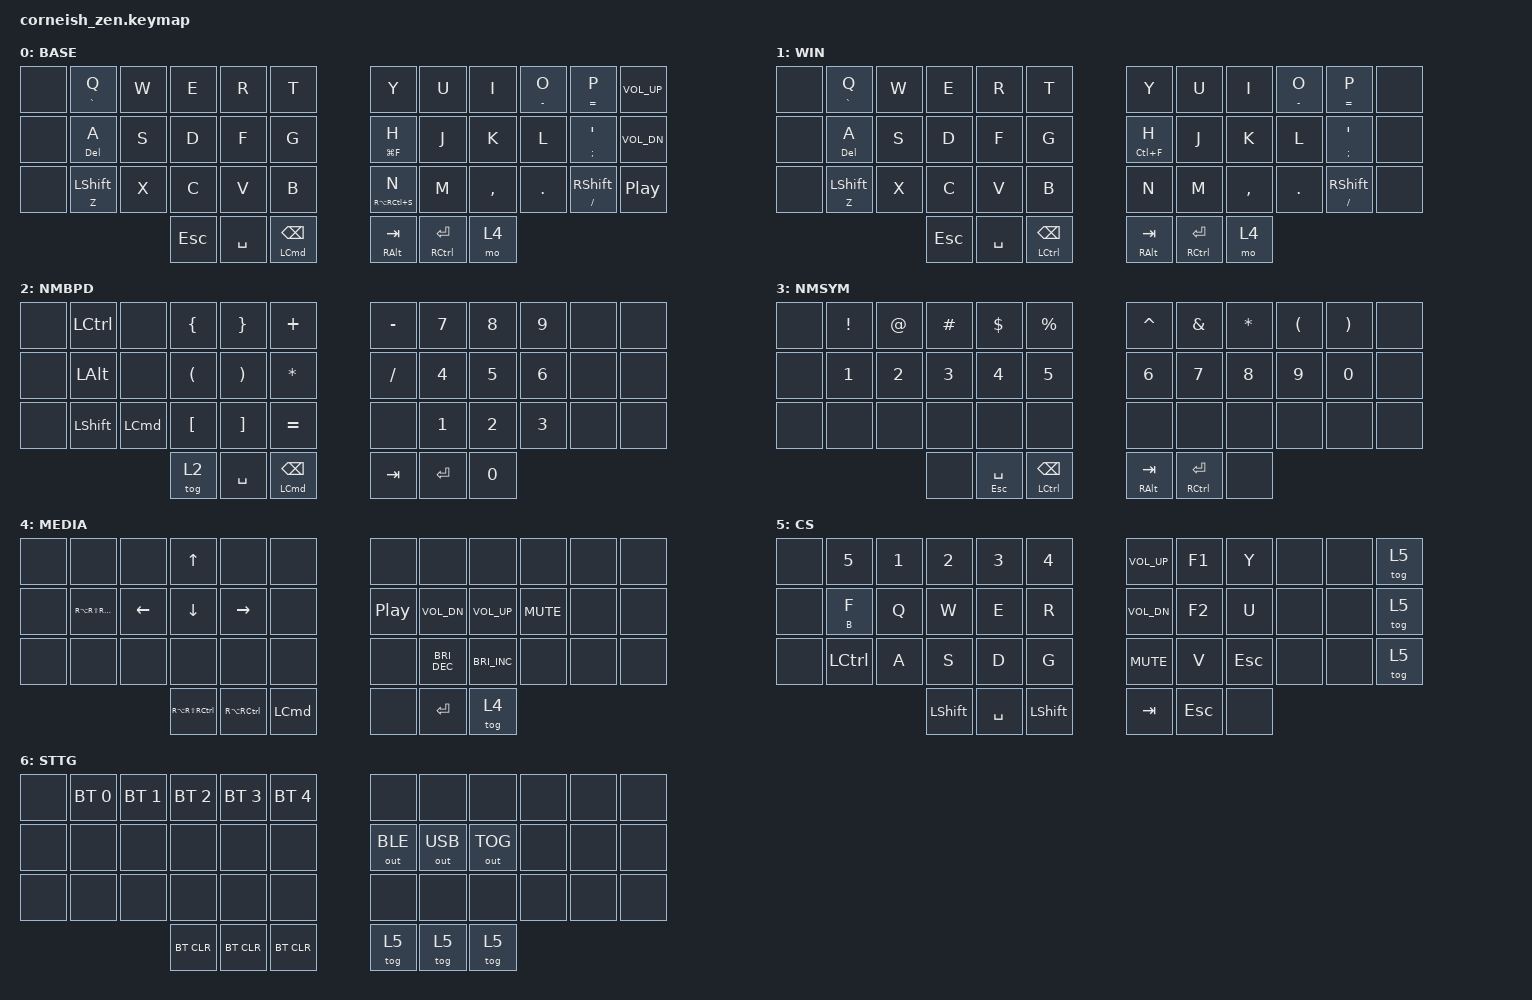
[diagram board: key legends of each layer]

#include <behaviors.dtsi>
#include <dt-bindings/zmk/keys.h>
#include <dt-bindings/zmk/bt.h>
#include <dt-bindings/zmk/outputs.h>


// Layers
#define BASE 0
#define WIN 1
#define NMBPD 2
#define NMSYM 3
#define MEDIA 4
#define CS 5
#define STTG 6

/ {
    chosen {
        zmk,matrix_transform = &default_transform;
        //zmk,matrix_transform = &five_column_transform;
    };
};

// Combination Behaviors
// _____________________________________   _____________________________________
// |  0  |  1  |  2  |  3  |  4  |  5  |   |  6  |  7  |  8  |  9  |  10 |  11 |
// |  12 |  13 |  14 |  15 |  16 |  17 |   |  18 |  19 |  20 |  21 |  22 |  23 |
// |  24 |  25 |  26 |  27 |  28 |  29 |   |  30 |  31 |  32 |  33 |  34 |  35 |
//                   |  36 |  37 |  38 |   |  39 |  40 |  41 |

/ {
    combos {
        compatible = "zmk,combos";

//Vertical Combinations

        combo_STTG {
            timeout-ms = <75>;
            key-positions = <0 11 12 23 24 35>;
            bindings = <&tog 6>;
                       };

        combo_CSGO {
            timeout-ms = <75>;
            key-positions = <12 23 24 35>;
            bindings = <&tog 5>;
                       };

        combo_WIN {
            timeout-ms = <75>;
            key-positions = <0 11 12 23>;
            bindings = <&tog 1>;
                       };

        combo_CAPS {
            timeout-ms = <75>;
            key-positions = <0 12 24>;
            bindings = <&kp CAPSLOCK>;
                     };

        combo_CMD {
            timeout-ms = <75>;
            key-positions = <12 24>;
            layers = <0 1>;
            bindings = <&kp LCMD>;
                     };

        combo_SNAPSHOT {
            timeout-ms = <100>;
            key-positions = <11 23 35>;
            bindings = <&kp LG(LS(NUMBER_4))>;
                       };

//Regular Combinations on the left
                     
        combo_NMSYMleft {
            timeout-ms = <50>;
            key-positions = <13 14>;
            layers = <0 1>;
            bindings = <&mo 3>;
                     };

        combo_NMBPDleft {
            timeout-ms = <50>;
            key-positions = <15 16>;
            layers = <0 1>;
            bindings = <&mo 2>;
                     };  

        combo_COPYPASTEmac {
            timeout-ms = <50>;
            key-positions = <16 17>;
            layers = <0>;
            bindings = <&mt LG(V) LG(C)>;
                     };

        combo_COPYPASTEwin {
            timeout-ms = <50>;
            key-positions = <16 17>;
            layers = <1>;
            bindings = <&mt LC(V) LC(C)>;
                     };

//Regular Combinations on the right

        combo_NMSYMright {
            timeout-ms = <50>;
            key-positions = <21 22>;
            layers = <0 1>;
            bindings = <&mo 3>;
                     };

        combo_NMBPDright {
            timeout-ms = <50>;
            key-positions = <19 20>;
            layers = <0 1>;
            bindings = <&mo 2>;
                     };  

        combo_SEC {
            timeout-ms = <40>;
            key-positions = <20 21>;
            layers = <0 1>;
            bindings = <&kp RA(NUMBER_6)>;
                       };     
           };
    };

// Hold-tap behaviors
&mt {
    tapping-term-ms = <300>;
    flavor = "tap-preferred";
    quick-tap-ms = <200>;
};

//Keymap
/{
    keymap {
        compatible = "zmk,keymap";

base_layer {
            label = "BASE";

            // _____________________________________   _____________________________________
            // |     |Q (`)|  W  |  E  |  R  |  T  |   |  Y  |  U  |  I  | O(-)| P(=)|     |
            // |     |A DEL|  S  |  D  |  F  |  G  |   |H (F)|  J  |  K  |  L  |' (;)|     |
            // |     |SFT Z|  X  |  C  |  V  |  B  |   |N (S)|  M  |  ,  |  .  |SFT /|     |
            //                   | ESC | SPC | BSPC|   | TAB | ENT | MED |
            //                                (LCMD)   (RALT)(RCTRL)
            
            bindings = <
  &none      &mt GRAVE Q  &kp W  &kp E  &kp R  &kp T           &kp Y            &kp U  &kp I      &mt MINUS O  &mt EQUAL P         &kp C_VOL_UP
  &none      &mt DEL A    &kp S  &kp D  &kp F  &kp G           &mt LG(F) H      &kp J  &kp K      &kp L        &mt SEMI SQT        &kp C_VOL_DN
  &none      &mt Z LSHFT  &kp X  &kp C  &kp V  &kp B           &mt RA(RC(S)) N  &kp M  &kp COMMA  &kp DOT      &mt FSLH RSHFT      &kp C_PP
                   &kp ESC  &kp SPACE  &mt LCMD BSPC           &mt RALT TAB  &mt RCTRL ENTER  &mo 4
            >;
        };

win_layer {
            label = "WIN";

            // _____________________________________   _____________________________________
            // |     |Q (`)|  W  |  E  |  R  |  T  |   |  Y  |  U  |  I  |O (-)|P (=)|     |
            // |     |A DEL|  S  |  D  |  F  |  G  |   |H (F)|  J  |  K  |  L  |' (;)|     |
            // |     |SFT Z|  X  |  C  |  V  |  B  |   |  N  |  M  |  ,  |  .  |SFT /|     |
            //                   | ESC | SPC |BSPC |   | TAB | ENT | MED |
            //                               (LCTRL)   (RALT)(RCTRL)
            
            bindings = <
  &none      &mt GRAVE Q   &kp W     &kp E     &kp R     &kp T           &kp Y        &kp U     &kp I      &mt MINUS O  &mt EQUAL P         &none
  &none      &mt DEL A     &kp S     &kp D     &kp F     &kp G           &mt LC(F) H  &kp J     &kp K      &kp L        &mt SEMI SQT        &none
  &none      &mt Z LSHFT   &kp X     &kp C     &kp V     &kp B           &kp N        &kp M     &kp COMMA  &kp DOT      &mt FSLH RSHFT      &none
                            &kp ESC  &kp SPACE  &mt LCTRL BSPC           &mt RALT TAB &mt RCTRL ENTER  &mo 4
            >;
        };

numpad_layer {
            label = "NMBPD";

            // _____________________________________   _____________________________________
            // |     |LCTRL|     |  {  |  }  |  +  |   |  -  |  7  |  8  |  9  |     |     |
            // |     |LALT |     |  (  |  )  |  *  |   |  /  |  4  |  5  |  6  |     |     |
            // |     |LSHFT|     |  [  |  ]  |  =  |   |     |  1  |  2  |  3  |     |     |
            //                   | NUM2| SPC | BPSC|   | TAB | ENT |  0  |
            //                                (LCMD)

            bindings = <
&none      &kp LCTRL   &none     &kp LBRC   &kp RBRC  &kp PLUS            &kp MINUS  &kp N7  &kp N8  &kp N9  &none       &none
&none      &kp LALT    &none     &kp LPAR   &kp RPAR  &kp STAR            &kp SLASH  &kp N4  &kp N5  &kp N6  &none       &none
&none      &kp LSHIFT  &kp LCMD  &kp LBKT   &kp RBKT  &kp EQUAL           &none      &kp N1  &kp N2  &kp N3  &none       &none
                               &tog 2  &kp SPACE  &mt LCMD BSPC           &kp TAB  &kp ENTER  &kp N0
            >;
        };
        
        numbers_layer {
            label = "NMSYM";

            // _____________________________________   _____________________________________
            // |     |  !  |  @  |  #  |  $  |  %  |   |  ^  |  &  |  *  |  (  |  )  |     |
            // |     |  1  |  2  |  3  |  4  |  5  |   |  6  |  7  |  8  |  9  |  0  |     |
            // |     | SHFT|     |     |     |     |   |     |     |     |     | SHFT|     |
            //                   |     | SPC | BSPC|   | TAB | ENT |     |
            //                          (ESC) (LCMD)   (RALT)(RCTRL)

            bindings = <
&none      &kp EXCL  &kp AT  &kp HASH  &kp DLLR  &kp PRCNT           &kp CARET  &kp AMPS  &kp STAR  &kp LPAR  &kp RPAR      &none
&none      &kp N1    &kp N2  &kp N3    &kp N4    &kp N5              &kp N6     &kp N7    &kp N8    &kp N9    &kp N0        &none
&none      &none     &none   &none     &none     &none               &none      &none     &none     &none     &none         &none
                      &none  &mt ESC SPACE  &mt LCTRL BSPC           &mt RALT TAB &mt RCTRL ENTER  &none
            >;
        };

        media_layer {
            label = "MEDIA";

            // _____________________________________   _____________________________________
            // |     |     |     |  UP |     |     |   |     |     |     |     |     |     |
            // |     | MEGA| LEFT| DOWN|RIGHT|     |   |     | p_p |VOLDN|VOLUP|VMUTE|     |
            // |     |     |     |     |     |     |   |     |briDN|briUP|     |     |     |
            //                   |SUPER| MEH | CMD |   |     | ENT | MED |

            bindings = <
&none      &none                 &none     &kp UP    &none      &none           &none     &none                 &none                 &none       &none       &none
&none      &kp RA(RS(RA(RCMD)))  &kp LEFT  &kp DOWN  &kp RIGHT  &none           &kp C_PP  &kp C_VOL_DN          &kp C_VOL_UP          &kp C_MUTE  &none       &none
&none      &none                 &none     &none     &none      &none           &none     &kp C_BRIGHTNESS_DEC  &kp C_BRIGHTNESS_INC  &none       &none       &none
                           &kp RA(RS(RCTRL))  &kp RA(RCTRL)  &kp LCMD           &none     &kp ENTER  &tog 4
            >;
        };

        cs_layer {
            label = "CS";

            // _____________________________________   _____________________________________
            // |     |  5  |  1  |  2  |  3  |  4  |   |VOLUP|  F1 | ALL |     |     | CSGO|
            // |     | B F |  Q  |  W  |  E  |  R  |   |VOLDN|  F2 |TEAMS|     |     | CSGO|
            // |     |LCTRL|  A  |  S  |  D  |  G  |   |VMUTE|  V  | ESC |     |     | CSGO|
            //                   |LSHFT|SPACE|LSHFT|   | TAB | ESC |     |

            bindings = <
&none       &kp N5      &kp N1  &kp N2  &kp N3  &kp N4           &kp C_VOL_UP  &kp F1  &kp Y    &none  &none       &tog 5
&none       &mt B F     &kp Q   &kp W   &kp E   &kp R            &kp C_VOL_DN  &kp F2  &kp U    &none  &none       &tog 5
&none       &kp LCTRL   &kp A   &kp S   &kp D   &kp G            &kp C_MUTE    &kp V   &kp ESC  &none  &none       &tog 5
                       &kp LSHFT  &kp SPACE  &kp LSHFT           &kp TAB  &kp ESC  &none
            >;
        };

        sttg_layer {
            label = "STTG";
            
            // _____________________________________   _____________________________________
            // |     | BT1 | BT2 | BT3 | BT4 | BT5 |   |     |     |     |     |     |     |
            // |     |     |     |     |     |     |   | BLE | USB |SWTCH|     |     |     |
            // |     |     |     |     |     |     |   |     |     |     |     |     |     |
            //                   |BTCLR|BTCLR|BTCLR|   | SET | SET | SET |
            
            bindings = <
&none  &bt BT_SEL 0  &bt BT_SEL 1  &bt BT_SEL 2  &bt BT_SEL 3  &bt BT_SEL 4           &none  &none  &none  &none  &none  &none
&none  &none  &none  &none  &none  &none                                              &out OUT_BLE  &out OUT_USB  &out OUT_TOG  &none  &none  &none
&none  &none  &none  &none  &none  &none                                              &none  &none  &none  &none  &none  &none
                                     &bt BT_CLR    &bt BT_CLR    &bt BT_CLR           &tog 5  &tog 5  &tog 5                              
            >;
        };
    };
};
